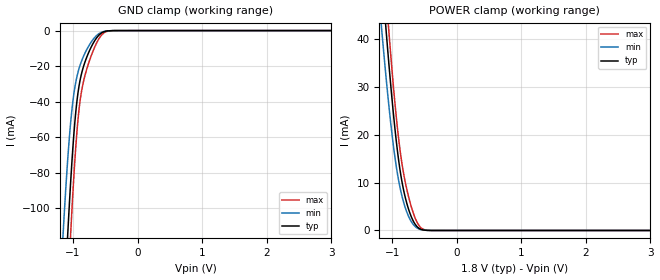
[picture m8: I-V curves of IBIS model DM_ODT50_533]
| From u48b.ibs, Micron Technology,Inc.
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|  MODEL DM_ODT50_533 (DM Input model with 50-ohm ODT Submodel,400/533)
[Model]   DM_ODT50_533
Model_type   Input
Vinl = 650.000mV
Vinh = 1.150V
|   typ   min   max
C_comp   2.80pF   2.61pF   3.05pF
| Note: C_comp decreases when the ODT circuit is enabled.
[Model Spec]
| Input threshold voltage corners
Vinl   0.650V   0.600V   0.700V
Vinh   1.150V   1.100V   1.200V
[Receiver Thresholds]
Vth   =  0.900V
Vth_min  =  0.882V
Vth_max  =  0.918V
Vinh_ac  =  0.250V
Vinh_dc  =  0.125V
Vinl_ac  = -0.250V
Vinl_dc  = -0.125V
Tslew_ac =  5.000ns |Not specified, so set to high value
Threshold_sensitivity = 0.50
Reference_supply Pullup_ref
[Voltage Range]   1.800V   1.700V   1.900V
[Pullup Reference]   1.800V   1.700V   1.900V
| Junction Temperature (Ambient temp is 25C typ, 85C min, 0C max)
[Temperature Range]   40.0   100.0   0.0
[Add Submodel]
| Submodel Name   Mode
50ohm_ODT_533   Non-Driving
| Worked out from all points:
|   GND clamp passes 1 mA (typ) near -0.54 V on its own axis
|   POWER clamp passes 1 mA (typ) near -0.63 V on its own axis
[GND Clamp]
|   Voltage   I(typ)   I(min)   I(max)
-1.8V     -732.2mA   -643.1mA   -793.5mA
-1.155V   -167.5mA   -114.8mA   -205.7mA
-1.085V   -116.2mA   -73.6mA    -149.7mA
-1.075V   -109.3mA   -68.53mA   -142.1mA
-1.035V   -83.8mA    -50.82mA   -112.9mA
-965mV    -48.54mA   -30.43mA   -69.18mA
-925mV    -35.4mA    -23.65mA   -50.63mA
-885mV    -26.82mA   -18.82mA   -37.89mA
-775mV    -13.78mA   -9.793mA   -20.19mA
-595mV    -2.414mA   -1.638mA   -4.342mA
-385mV    -23.94uA   -28.43uA   -37uA
3.6V      0A         0A         0A
[POWER Clamp]
|   Voltage   I(typ)   I(min)   I(max)
-1.8V     174.6mA    152.1mA    190.2mA
-1.165V   53.73mA    42.23mA    61.99mA
-1.095V   41.77mA    31.89mA    49.12mA
-1.055V   35.28mA    26.43mA    42.08mA
-995mV    26.23mA    19.12mA    32.14mA
-945mV    19.6mA     14.04mA    24.74mA
-855mV    10.61mA    7.5mA      14.47mA
-735mV    3.952mA    2.604mA    6.423mA
-605mV    663.1uA    441.3uA    1.455mA
-535mV    154.4uA    123.3uA    363.4uA
-395mV    3.964uA    6.066uA    6.524uA
3.6V      0A         0A         0A
